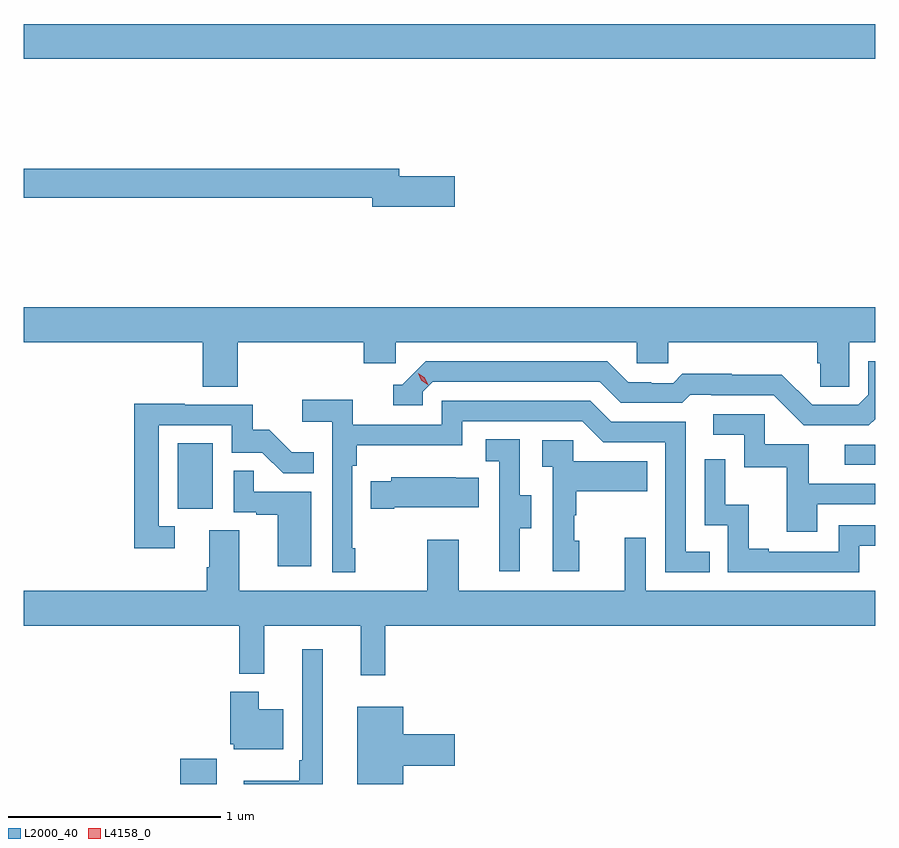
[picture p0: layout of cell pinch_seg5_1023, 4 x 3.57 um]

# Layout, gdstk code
import gdstk
lib = gdstk.Library(unit=1e-6, precision=1e-09)
def R(c, l, rs):  # rectangles x0, y0, x1, y1
    for r in rs: c.add(gdstk.rectangle(r[:2], r[2:], *l))
def P(c, l, *ps):  # polygons
    for p in ps: c.add(gdstk.Polygon(p, *l))
L2000_40 = (2000, 40)
L4158_0 = (4158, 0)

pinch_seg5_1023 = lib.new_cell('pinch_seg5_1023')
R(pinch_seg5_1023, L2000_40, [(875.51,861.345,875.68,861.463), (875.498,862.638,875.662,862.945), (874.774,864.752,878.774,864.916)])
P(pinch_seg5_1023, L2000_40, [(876.799,864.2),(876.538,864.2),(876.538,864.236),(874.774,864.236),(874.774,864.1),(876.41,864.1),(876.41,864.058),(876.799,864.058)],
  [(875.78,863.42),(876.371,863.42),(876.371,863.322),(876.522,863.322),(876.522,863.42),(877.653,863.42),(877.653,863.322),(877.803,863.322),(877.803,863.42),(878.501,863.42),(878.501,863.322),(878.515,863.322),(878.515,863.212),(878.652,863.212),(878.652,863.42),(878.774,863.42),(878.774,863.584),(874.774,863.584),(874.774,863.42),(875.615,863.42),(875.615,863.212),(875.78,863.212)],
  [(878.774,863.06),(878.774,863.331),(878.742,863.331),(878.742,863.175),(878.694,863.127),(878.478,863.127),(878.336,863.269),(878.1,863.269),(878.1,863.272),(877.867,863.272),(877.825,863.229),(877.722,863.229),(877.722,863.232),(877.615,863.232),(877.516,863.331),(876.663,863.331),(876.552,863.22),(876.509,863.22),(876.509,863.124),(876.648,863.124),(876.648,863.187),(876.696,863.235),(877.479,863.235),(877.578,863.136),(877.867,863.136),(877.906,863.175),(878.005,863.175),(878.005,863.172),(878.298,863.172),(878.439,863.031),(878.745,863.031)],
  [(876.331,862.453),(876.318,862.453),(876.318,862.841),(876.338,862.841),(876.338,862.937),(876.834,862.937),(876.834,863.049),(877.398,863.049),(877.497,862.95),(877.788,862.95),(877.788,862.341),(877.997,862.341),(877.997,862.437),(877.884,862.437),(877.884,863.046),(877.534,863.046),(877.435,863.145),(876.738,863.145),(876.738,863.034),(876.32,863.034),(876.32,863.15),(876.081,863.15),(876.081,863.048),(876.222,863.048),(876.222,862.341),(876.331,862.341)],
  [(875.482,862.557),(875.409,862.557),(875.409,863.031),(875.751,863.031),(875.751,862.902),(875.895,862.902),(875.993,862.804),(876.137,862.804),(876.137,862.903),(876.033,862.903),(875.926,863.01),(875.85,863.01),(875.85,863.127),(875.531,863.127),(875.531,863.132),(875.293,863.132),(875.293,862.452),(875.482,862.452)],
  [(878.503,862.659),(878.774,862.659),(878.774,862.755),(878.461,862.755),(878.461,862.941),(878.256,862.941),(878.256,863.082),(878.013,863.082),(878.013,862.986),(878.16,862.986),(878.16,862.833),(878.359,862.833),(878.359,862.53),(878.503,862.53)],
  [(877.105,862.546),(877.159,862.546),(877.159,862.701),(877.104,862.701),(877.104,862.964),(876.945,862.964),(876.945,862.861),(877.008,862.861),(877.008,862.557),(877.007,862.557),(877.007,862.344),(877.105,862.344)],
  [(877.384,862.488),(877.359,862.488),(877.359,862.607),(877.369,862.607),(877.369,862.721),(877.703,862.721),(877.703,862.861),(877.356,862.861),(877.356,862.959),(877.209,862.959),(877.209,862.835),(877.26,862.835),(877.26,862.344),(877.384,862.344)],
  [(878.774,862.94),(878.772,862.938),(878.631,862.938),(878.631,862.845),(878.774,862.845)],
  [(878.7,862.464),(878.774,862.464),(878.774,862.56),(878.604,862.56),(878.604,862.437),(878.275,862.437),(878.275,862.45),(878.18,862.45),(878.18,862.658),(878.07,862.658),(878.07,862.87),(877.974,862.87),(877.974,862.56),(878.082,862.56),(878.082,862.341),(878.7,862.341)],
  [(876.124,862.719),(875.855,862.719),(875.855,862.817),(875.76,862.817),(875.76,862.623),(875.867,862.623),(875.867,862.611),(875.966,862.611),(875.966,862.368),(876.124,862.368)],
  [(876.514,862.646),(876.911,862.646),(876.911,862.783),(876.803,862.783),(876.803,862.786),(876.501,862.786),(876.501,862.768),(876.403,862.768),(876.403,862.639),(876.514,862.639)],
  [(876.473,862.088),(878.774,862.088),(878.774,862.252),(877.695,862.252),(877.695,862.501),(877.598,862.501),(877.598,862.252),(876.817,862.252),(876.817,862.492),(876.67,862.492),(876.67,862.252),(875.785,862.252),(875.785,862.538),(875.645,862.538),(875.645,862.364),(875.633,862.364),(875.633,862.252),(874.774,862.252),(874.774,862.088),(875.785,862.088),(875.785,861.863),(875.903,861.863),(875.903,862.088),(876.356,862.088),(876.356,861.855),(876.473,861.855)],
  [(876.178,861.979),(876.081,861.979),(876.081,861.457),(876.069,861.457),(876.069,861.361),(875.807,861.361),(875.807,861.345),(876.178,861.345)],
  [(875.992,861.697),(875.878,861.697),(875.878,861.778),(875.744,861.778),(875.744,861.531),(875.76,861.531),(875.76,861.509),(875.992,861.509)],
  [(876.556,861.431),(876.799,861.431),(876.799,861.578),(876.556,861.578),(876.556,861.709),(876.341,861.709),(876.341,861.345),(876.556,861.345)])
P(pinch_seg5_1023, L4158_0, [(876.672,863.221),(876.642,863.241),(876.626,863.274),(876.626,863.274),(876.626,863.274),(876.657,863.254),(876.673,863.222),(876.673,863.221)])

lib.write_gds('pinch_seg5_1023.gds')
